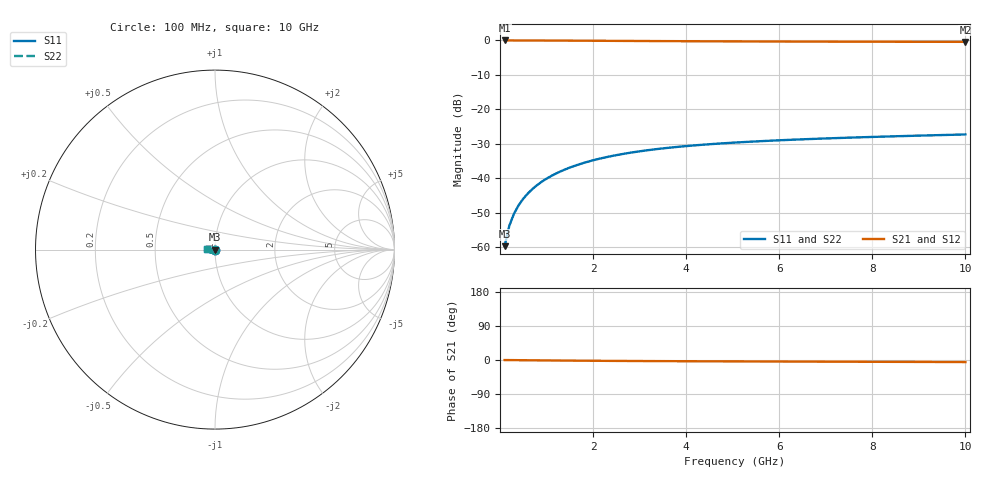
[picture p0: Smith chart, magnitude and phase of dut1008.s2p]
! Touchstone file exported from HFSS 2024.1.0
!  File:  C:/UserFiles/LocalFiles/RDL_TSV_Batchsim/temp_TSV1_1008_1780058690.aedt
!  Generated:  08:50:47 PM May 29, 2026
!  Design:  TSV1
!  Project:  temp_TSV1_1008_1780058690
!  Setup:  Setup1
!  Solution:  Sweep
! Variables:
!  dtsv = 7.89um
!  hbump = 3um
!  htsv = 85.24um
!  lrdl = 252.1521522um
!  p = 40
!  p1 = 45.24um
!  t = 500um
!  trdl = 3um
!  wrdl = 24.89489489um
# GHz S MA R 50.000000
! Terminal data exported
! Port[1] = TSV22_T1
! Port[2] = TSV22_T2
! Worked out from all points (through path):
!   100 points, 100 MHz to 10 GHz, reference 50 ohm
!   highest |S21| = 0.00 dB at 100 MHz (marker M1); lowest = -0.4 dB at 10 GHz (marker M2)
!   lowest |S11| = -59.8 dB at 100 MHz (marker M3), VSWR 1.00, Z = 50 - j0.1 ohm
!   |S11| at or under -10 dB: start of sweep to end of sweep
!   |S22| runs from -59.8 to -27.3 dB; largest |S21 - S12| = 9e-15
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0.1  0.001027 -78.1  0.9997 -0.1  0.9997 -0.1  0.001027 -78.1
! Gamma 0 0 0 0
! Port Impedance 50 0 50 0
0.2  0.002023 -86.4  0.9996 -0.2  0.9996 -0.2  0.002023 -86.4
0.3  0.003025 -90.4  0.9994 -0.3  0.9994 -0.3  0.003025 -90.4
0.4  0.004023 -93.4  0.9992 -0.5  0.9992 -0.5  0.004023 -93.4
0.5  0.005015 -95.8  0.9989 -0.6  0.9989 -0.6  0.005015 -95.8
0.6  0.005998 -98.0  0.9986 -0.7  0.9986 -0.7  0.005998 -98.0
0.7  0.006971 -100.1  0.9982 -0.8  0.9982 -0.8  0.006971 -100.1
0.8  0.007931 -102.0  0.9978 -0.9  0.9978 -0.9  0.007931 -102.0
0.9  0.008878 -103.9  0.9973 -1.0  0.9973 -1.0  0.008878 -103.9
1.1  0.01073 -107.6  0.9962 -1.2  0.9962 -1.2  0.01073 -107.6
1.4  0.01337 -112.7  0.9942 -1.5  0.9942 -1.5  0.01337 -112.7
1.6  0.01504 -116.0  0.9928 -1.7  0.9928 -1.7  0.01504 -116.0
1.8  0.01663 -119.1  0.9913 -1.9  0.9913 -1.9  0.01663 -119.1
2.1  0.01887 -123.6  0.9889 -2.1  0.9889 -2.1  0.01887 -123.6
2.5  0.02156 -129.2  0.9857 -2.4  0.9857 -2.4  0.02156 -129.2
2.9  0.02395 -134.4  0.9826 -2.7  0.9826 -2.7  0.02395 -134.4
3.4  0.02655 -140.4  0.9788 -2.9  0.9788 -2.9  0.02655 -140.4
4.2  0.02997 -148.9  0.9735 -3.3  0.9735 -3.3  0.02997 -148.9
5.1  0.033 -157.1  0.9686 -3.7  0.9686 -3.7  0.033 -157.1
6.7  0.03706 -169.2  0.9621 -4.3  0.9621 -4.3  0.03706 -169.2
8.4  0.04037 -179.5  0.9575 -4.9  0.9575 -4.9  0.04037 -179.5
10  0.04306 172.4  0.9544 -5.4  0.9544 -5.4  0.04306 172.4
